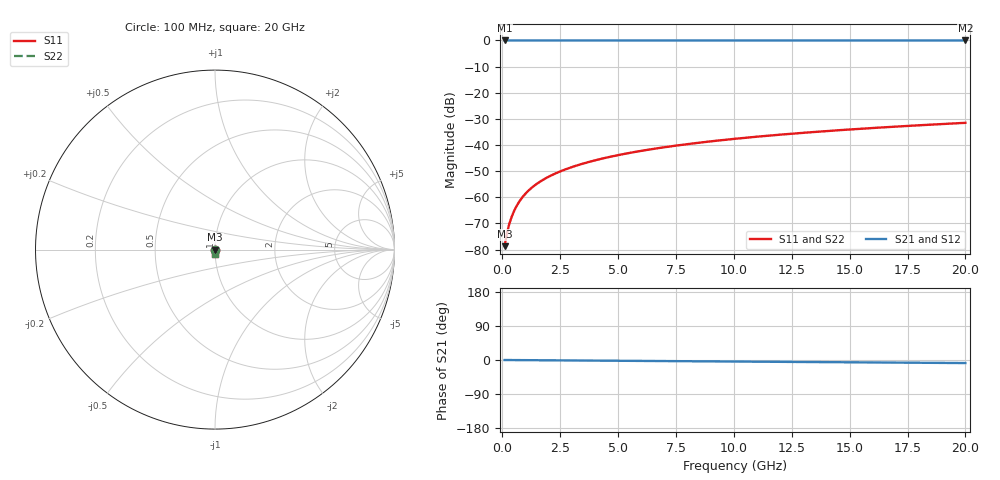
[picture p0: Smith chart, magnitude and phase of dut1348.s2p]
! Touchstone file exported from HFSS 2026.1.0
!  File:  C:/ffzhzh/LocalFiles/Ansys_Project_Files/temp_train_TSV_1348_1783195760_18472.aedt
!  Generated:  04:10:38 AM Jul  5, 2026
!  Design:  TSV
!  Project:  temp_train_TSV_1348_1783195760_18472
! Variables:
!  h_bsmrdl = 2um
!  h_ox = 20um
!  h_rdl = 5um
!  h_sub = 79.37um
!  h_tmrdl = 5um
!  h_tsv = 79.37um
!  h_via = 3um
!  l_bsmrdl = 300um
!  l_sub = 430um
!  l_tmrdl = 200um
!  m_sub = 200um
!  pitch = 50um
!  r_tsv = 15um
!  s_tmrdl = 10um
!  w_bsmrdl = 18um
!  w_sub = 500um
!  w_tmrdl = 12um
!  x_tsv_center1 = 206um
!  x_tsv_center2 = 524um
!  x_tsv_center3 = 736um
!  x_tsv_center4 = 1054um
!  x_tsv_center5 = 1266um
!  x_tsv_center6 = 1584um
# GHz S MA R 50.000000
! Terminal data exported
! Port[1] = TSV1_1_T1
! Port[2] = TSV1_1_T2
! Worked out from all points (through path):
!   200 points, 100 MHz to 20 GHz, reference 50 ohm
!   highest |S21| = 0.00 dB at 100 MHz (marker M1); lowest = 0.0 dB at 20 GHz (marker M2)
!   group delay of S21, straight-line fit = 1.12 ps
!   lowest |S11| = -78.7 dB at 100 MHz (marker M3), VSWR 1.00, Z = 50 - j0.00911 ohm
!   |S11| at or under -10 dB: start of sweep to end of sweep
!   |S22| runs from -78.7 to -31.5 dB; largest |S21 - S12| = 2.4e-15
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0.1  0.0001164 -51.5  0.9999 -0.0  0.9999 -0.0  0.0001164 -51.5
! Gamma 0 0 0 0
! Port Impedance 50 0 50 0
0.2  0.0002055 -65.1  0.9999 -0.1  0.9999 -0.1  0.0002055 -65.1
0.3  0.0003076 -69.6  0.9999 -0.1  0.9999 -0.1  0.0003076 -69.6
0.4  0.0004187 -71.9  0.9999 -0.2  0.9999 -0.2  0.0004187 -71.9
0.5  0.0005365 -73.4  0.9998 -0.2  0.9998 -0.2  0.0005365 -73.4
0.7  0.0007853 -75.7  0.9998 -0.3  0.9998 -0.3  0.0007853 -75.7
0.8  0.0009134 -76.7  0.9998 -0.3  0.9998 -0.3  0.0009134 -76.7
1  0.001173 -78.4  0.9998 -0.4  0.9998 -0.4  0.001173 -78.4
1.2  0.001434 -79.8  0.9997 -0.5  0.9997 -0.5  0.001434 -79.8
1.4  0.001695 -80.9  0.9997 -0.6  0.9997 -0.6  0.001695 -80.9
1.7  0.002086 -82.2  0.9997 -0.7  0.9997 -0.7  0.002086 -82.2
2  0.002476 -83.2  0.9997 -0.8  0.9997 -0.8  0.002476 -83.2
2.7  0.003388 -84.9  0.9996 -1.1  0.9996 -1.1  0.003388 -84.9
3.5  0.004434 -86.1  0.9996 -1.4  0.9996 -1.4  0.004434 -86.1
4.2  0.005354 -86.9  0.9995 -1.7  0.9995 -1.7  0.005354 -86.9
5  0.006411 -87.6  0.9995 -2.0  0.9995 -2.0  0.006411 -87.6
6.8  0.008806 -89.0  0.9994 -2.8  0.9994 -2.8  0.008806 -89.0
8.3  0.01081 -89.9  0.9993 -3.4  0.9993 -3.4  0.01081 -89.9
10.1  0.01323 -91.0  0.9992 -4.1  0.9992 -4.1  0.01323 -91.0
13.4  0.01767 -92.8  0.999 -5.4  0.999 -5.4  0.01767 -92.8
16.7  0.02212 -94.4  0.9988 -6.7  0.9988 -6.7  0.02212 -94.4
20  0.02657 -95.9  0.9986 -8.1  0.9986 -8.1  0.02657 -95.9
